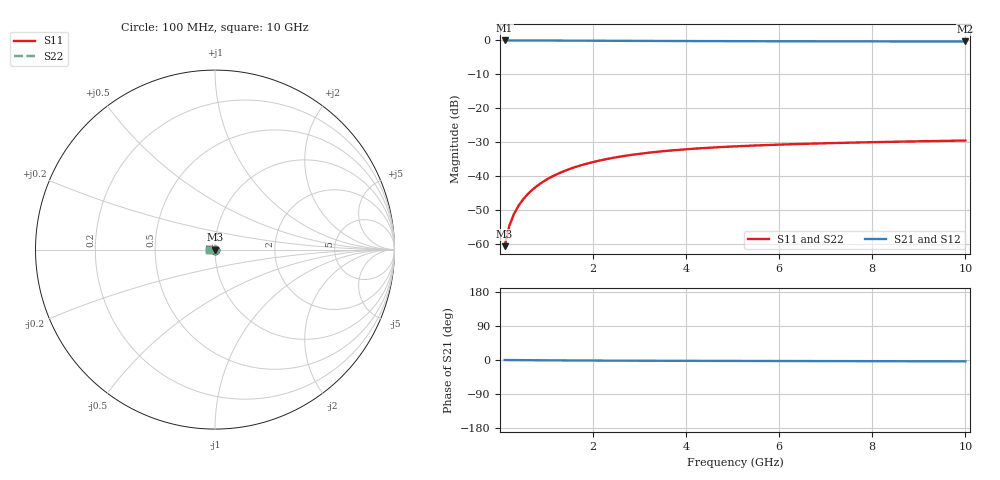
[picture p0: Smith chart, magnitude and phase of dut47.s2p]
! Touchstone file exported from HFSS 2024.1.0
!  File:  C:/UserFiles/LocalFiles/RDL_TSV_Batchsim/temp_TSV1_47_1779371693.aedt
!  Generated:  10:03:10 PM May 21, 2026
!  Design:  TSV1
!  Project:  temp_TSV1_47_1779371693
!  Setup:  Setup1
!  Solution:  Sweep
! Variables:
!  dtsv = 11.47um
!  hbump = 3um
!  htsv = 52.28um
!  lrdl = 252.1521522um
!  p = 40
!  p1 = 49um
!  t = 500um
!  trdl = 3um
!  wrdl = 24.89489489um
# GHz S MA R 50.000000
! Terminal data exported
! Port[1] = TSV22_T1
! Port[2] = TSV22_T2
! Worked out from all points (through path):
!   100 points, 100 MHz to 10 GHz, reference 50 ohm
!   highest |S21| = 0.00 dB at 100 MHz (marker M1); lowest = -0.3 dB at 10 GHz (marker M2)
!   lowest |S11| = -60.8 dB at 100 MHz (marker M3), VSWR 1.00, Z = 50 - j0.0914 ohm
!   |S11| at or under -10 dB: start of sweep to end of sweep
!   |S22| runs from -60.8 to -29.6 dB; largest |S21 - S12| = 1.7e-14
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0.1  0.0009155 -86.3  0.9999 -0.1  0.9999 -0.1  0.0009155 -86.3
! Gamma 0 0 0 0
! Port Impedance 50 0 50 0
0.2  0.001823 -90.8  0.9998 -0.2  0.9998 -0.2  0.001823 -90.8
0.3  0.002727 -93.5  0.9996 -0.3  0.9996 -0.3  0.002727 -93.5
0.4  0.003626 -95.7  0.9994 -0.4  0.9994 -0.4  0.003626 -95.7
0.5  0.004517 -97.7  0.9992 -0.4  0.9992 -0.4  0.004517 -97.7
0.6  0.005399 -99.6  0.9989 -0.5  0.9989 -0.5  0.005399 -99.6
0.7  0.006269 -101.4  0.9985 -0.6  0.9985 -0.6  0.006268 -101.4
0.8  0.007125 -103.2  0.9981 -0.7  0.9981 -0.7  0.007125 -103.2
0.9  0.007968 -104.9  0.9976 -0.8  0.9976 -0.8  0.007968 -104.9
1.1  0.009603 -108.3  0.9966 -0.9  0.9966 -0.9  0.009603 -108.3
1.4  0.01192 -113.2  0.9949 -1.1  0.9949 -1.1  0.01192 -113.2
1.6  0.01336 -116.2  0.9937 -1.2  0.9937 -1.2  0.01336 -116.2
1.8  0.01472 -119.1  0.9924 -1.4  0.9924 -1.4  0.01472 -119.1
2.1  0.0166 -123.3  0.9905 -1.5  0.9905 -1.5  0.0166 -123.3
2.5  0.01882 -128.4  0.988 -1.7  0.988 -1.7  0.01882 -128.4
2.9  0.02073 -133.0  0.9856 -1.9  0.9856 -1.9  0.02073 -133.0
3.4  0.02274 -138.2  0.9828 -2.0  0.9828 -2.0  0.02274 -138.2
4.2  0.02526 -145.3  0.9789 -2.3  0.9789 -2.3  0.02526 -145.3
5.1  0.02736 -151.9  0.9754 -2.5  0.9754 -2.5  0.02736 -151.9
6.7  0.02993 -161.2  0.9709 -2.8  0.9709 -2.8  0.02993 -161.2
8.4  0.03183 -169.0  0.9678 -3.2  0.9678 -3.2  0.03183 -169.0
10  0.03325 -175.3  0.9658 -3.6  0.9658 -3.6  0.03325 -175.3
